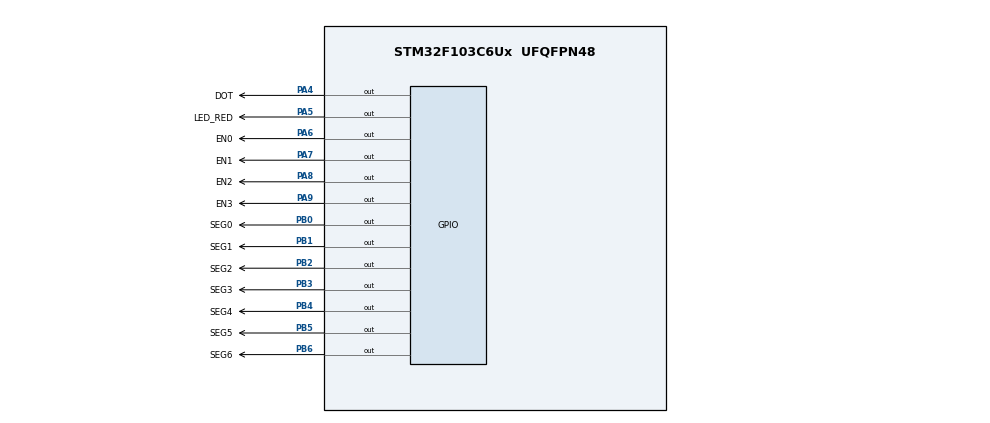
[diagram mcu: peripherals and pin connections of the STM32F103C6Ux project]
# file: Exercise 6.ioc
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Mcu.Family=STM32F1
Mcu.Name=STM32F103C6Ux
Mcu.Package=UFQFPN48
NVIC.PriorityGroup=NVIC_PRIORITYGROUP_4
NVIC.TIM2_IRQn=true\:0\:0\:false\:false\:true\:true\:true
PA4.GPIO_Label=DOT
PA4.Signal=GPIO_Output
PA5.GPIO_Label=LED_RED
PA5.Signal=GPIO_Output
PA6.GPIO_Label=EN0
PA6.Signal=GPIO_Output
PA7.GPIO_Label=EN1
PA7.Signal=GPIO_Output
PA8.GPIO_Label=EN2
PA8.Signal=GPIO_Output
PA9.GPIO_Label=EN3
PA9.Signal=GPIO_Output
PB0.GPIO_Label=SEG0
PB0.Signal=GPIO_Output
PB1.GPIO_Label=SEG1
PB1.Signal=GPIO_Output
PB2.GPIO_Label=SEG2
PB2.Signal=GPIO_Output
PB3.GPIO_Label=SEG3
PB3.Signal=GPIO_Output
PB4.GPIO_Label=SEG4
PB4.Signal=GPIO_Output
PB5.GPIO_Label=SEG5
PB5.Signal=GPIO_Output
PB6.GPIO_Label=SEG6
PB6.Signal=GPIO_Output
ProjectManager.HeapSize=0x200
ProjectManager.StackSize=0x400
ProjectManager.TargetToolchain=STM32CubeIDE
RCC.APB1Freq_Value=8000000
RCC.APB2Freq_Value=8000000
TIM2.Period=9
TIM2.Prescaler=7999
VP_SYS_VS_ND.Mode=No_Debug
VP_TIM2_VS_ClockSourceINT.Mode=Internal
board=custom

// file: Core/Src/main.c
/* USER CODE BEGIN Header */
/**
  ******************************************************************************
  * @file           : main.c
  * @brief          : Main program body
  ******************************************************************************
  * @attention
  *
  * <h2><center>&copy; Copyright (c) 2022 STMicroelectronics.
  * All rights reserved.</center></h2>
  *
  * This software component is licensed by ST under BSD 3-Clause license,
  * the "License"; You may not use this file except in compliance with the
  * License. You may obtain a copy of the License at:
  *                        opensource.org/licenses/BSD-3-Clause
  *
  ******************************************************************************
  */
/* USER CODE END Header */
#include "main.h"

TIM_HandleTypeDef htim2;

void SystemClock_Config(void);
static void MX_GPIO_Init(void);
static void MX_TIM2_Init(void);

/* USER CODE BEGIN 0 */

//software timer
int timer0_counter = 0;
int timer0_flag = 0;
int TIMER_CYCLE = 10;

void setTimer0(int duration){
	timer0_counter = duration / TIMER_CYCLE;
	timer0_flag = 0;
}

void timer_run(){
	if(timer0_counter > 0){
		timer0_counter--;
		if(timer0_counter == 0) timer0_flag = 1;
	}
}

//display7SEG function
void display7SEG(int num)
{
	if (num == 0)
	{
		HAL_GPIO_WritePin (GPIOB, SEG0_Pin|SEG1_Pin|SEG2_Pin|SEG3_Pin|SEG4_Pin|SEG5_Pin, GPIO_PIN_RESET);
		HAL_GPIO_WritePin (GPIOB, SEG6_Pin, GPIO_PIN_SET);
	}
	else if (num == 1)
	{
		HAL_GPIO_WritePin (GPIOB, SEG1_Pin|SEG2_Pin, GPIO_PIN_RESET);
		HAL_GPIO_WritePin (GPIOB, SEG0_Pin|SEG3_Pin|SEG4_Pin|SEG5_Pin|SEG6_Pin, GPIO_PIN_SET);
	}
	else if (num == 2)
	{
		HAL_GPIO_WritePin (GPIOB, SEG0_Pin|SEG1_Pin|SEG3_Pin|SEG4_Pin|SEG6_Pin, GPIO_PIN_RESET);
		HAL_GPIO_WritePin (GPIOB, SEG2_Pin|SEG5_Pin, GPIO_PIN_SET);
	}
	else if (num == 3)
	{
		HAL_GPIO_WritePin (GPIOB, SEG0_Pin|SEG1_Pin|SEG2_Pin|SEG3_Pin|SEG6_Pin, GPIO_PIN_RESET);
		HAL_GPIO_WritePin (GPIOB, SEG4_Pin|SEG5_Pin, GPIO_PIN_SET);
	}
	else if (num == 4)
	{
		HAL_GPIO_WritePin (GPIOB, SEG1_Pin|SEG2_Pin|SEG5_Pin|SEG6_Pin, GPIO_PIN_RESET);
		HAL_GPIO_WritePin (GPIOB, SEG0_Pin|SEG3_Pin|SEG4_Pin, GPIO_PIN_SET);
	}
	else if (num == 5)
	{
		HAL_GPIO_WritePin (GPIOB, SEG0_Pin|SEG2_Pin|SEG3_Pin|SEG5_Pin|SEG6_Pin, GPIO_PIN_RESET);
		HAL_GPIO_WritePin (GPIOB, SEG1_Pin|SEG4_Pin, GPIO_PIN_SET);
	}
	else if (num == 6)
	{
		HAL_GPIO_WritePin (GPIOB, SEG0_Pin|SEG2_Pin|SEG3_Pin|SEG4_Pin|SEG5_Pin|SEG6_Pin, GPIO_PIN_RESET);
		HAL_GPIO_WritePin (GPIOB, SEG1_Pin, GPIO_PIN_SET);
	}
	else if (num == 7)
	{
		HAL_GPIO_WritePin (GPIOB, SEG0_Pin|SEG1_Pin|SEG2_Pin, GPIO_PIN_RESET);
		HAL_GPIO_WritePin (GPIOB, SEG3_Pin|SEG4_Pin|SEG5_Pin|SEG6_Pin, GPIO_PIN_SET);
	}
	else if (num == 8)
	{
		HAL_GPIO_WritePin (GPIOB, SEG0_Pin|SEG1_Pin|SEG2_Pin|SEG3_Pin|SEG4_Pin|SEG5_Pin|SEG6_Pin, GPIO_PIN_RESET);
	}
	else
	{
		HAL_GPIO_WritePin (GPIOB, SEG0_Pin|SEG1_Pin|SEG2_Pin|SEG3_Pin|SEG5_Pin|SEG6_Pin, GPIO_PIN_RESET);
		HAL_GPIO_WritePin (GPIOB, SEG4_Pin, GPIO_PIN_SET);
	}
}

const int MAX_LED = 4;
int index_led = 0;
int led_buffer[4] = {1, 2, 3, 4};

void update7SEG(int index){
	switch (index){
	case 0:
		//Display the first 7SEG with led_buffer[0]
		display7SEG(led_buffer[index]);
		HAL_GPIO_WritePin(EN0_GPIO_Port, EN0_Pin, RESET);
		HAL_GPIO_WritePin(EN1_GPIO_Port, EN1_Pin, SET);
		HAL_GPIO_WritePin(EN1_GPIO_Port, EN2_Pin, SET);
		HAL_GPIO_WritePin(EN1_GPIO_Port, EN3_Pin, SET);
		index_led = 1;
		break;

	case 1:
		//Display the first 7SEG with led_buffer[1]
		display7SEG(led_buffer[index]);
		HAL_GPIO_WritePin(EN0_GPIO_Port, EN0_Pin, SET);
		HAL_GPIO_WritePin(EN1_GPIO_Port, EN1_Pin, RESET);
		HAL_GPIO_WritePin(EN1_GPIO_Port, EN2_Pin, SET);
		HAL_GPIO_WritePin(EN1_GPIO_Port, EN3_Pin, SET);
		index_led = 2;
		break;

	case 2:
		//Display the first 7SEG with led_buffer[2]
		display7SEG(led_buffer[index]);
		HAL_GPIO_WritePin(EN0_GPIO_Port, EN0_Pin, SET);
		HAL_GPIO_WritePin(EN1_GPIO_Port, EN1_Pin, SET);
		HAL_GPIO_WritePin(EN1_GPIO_Port, EN2_Pin, RESET);
		HAL_GPIO_WritePin(EN1_GPIO_Port, EN3_Pin, SET);
		index_led = 3;
		break;

	case 3:
		//Display the first 7SEG with led_buffer[3]
		display7SEG(led_buffer[index]);
		HAL_GPIO_WritePin(EN0_GPIO_Port, EN0_Pin, SET);
		HAL_GPIO_WritePin(EN1_GPIO_Port, EN1_Pin, SET);
		HAL_GPIO_WritePin(EN1_GPIO_Port, EN2_Pin, SET);
		HAL_GPIO_WritePin(EN1_GPIO_Port, EN3_Pin, RESET);
		index_led = 0;
		break;

	default:
		break;
	}
}

//updateClockBuffer function
int hour = 15, minute = 8, second = 50;
void updateClockBuffer(){

	led_buffer[1] = hour % 10;
	if (hour < 10){
		led_buffer[0] = 0;
	}
	else {
		led_buffer[0] = hour / 10;
	}

	led_buffer[3] = minute % 10;
	if (minute < 10){
		led_buffer[2] = 0;
	}
	else{
		led_buffer[2] = minute / 10;
	}
}

/* USER CODE END 0 */

int main(void)
{

  /* MCU Configuration--------------------------------------------------------*/

  /* Reset of all peripherals, Initializes the Flash interface and the Systick. */
  HAL_Init();

  /* Configure the system clock */
  SystemClock_Config();

  /* Initialize all configured peripherals */
  MX_GPIO_Init();
  MX_TIM2_Init();
  /* USER CODE BEGIN 2 */
  HAL_TIM_Base_Start_IT(&htim2);
  /* USER CODE END 2 */

  /* Infinite loop */
  /* USER CODE BEGIN WHILE */
  while (1)
  {
	  second++;

	  	  if (second >= 60) // 1 minute = 60s
	  	  {
	  		  second = 0;
	  		  minute++;

	  		  if (minute >= 60) // 1 hour = 60p
	  		  {
	  			  minute = 0;
	  			  hour++;
	  		  	  if (hour >= 12) {hour = 0;}//start new a cycle
	  		  }
	  	  }

	  updateClockBuffer();
	  HAL_Delay(1000);

	  if(timer0_flag == 1){
		  HAL_GPIO_TogglePin(GPIOA, LED_RED_Pin);
		  setTimer0(2000);
	  }
    /* USER CODE END WHILE */

  }
}

void SystemClock_Config(void)
{
  RCC_OscInitTypeDef RCC_OscInitStruct = {0};
  RCC_ClkInitTypeDef RCC_ClkInitStruct = {0};

  /** Initializes the RCC Oscillators according to the specified parameters
  * in the RCC_OscInitTypeDef structure.
  */
  RCC_OscInitStruct.OscillatorType = RCC_OSCILLATORTYPE_HSI;
  RCC_OscInitStruct.HSIState = RCC_HSI_ON;
  RCC_OscInitStruct.HSICalibrationValue = RCC_HSICALIBRATION_DEFAULT;
  RCC_OscInitStruct.PLL.PLLState = RCC_PLL_NONE;
  if (HAL_RCC_OscConfig(&RCC_OscInitStruct) != HAL_OK)
  {
    Error_Handler();
  }
  /** Initializes the CPU, AHB and APB buses clocks
  */
  RCC_ClkInitStruct.ClockType = RCC_CLOCKTYPE_HCLK|RCC_CLOCKTYPE_SYSCLK
                              |RCC_CLOCKTYPE_PCLK1|RCC_CLOCKTYPE_PCLK2;
  RCC_ClkInitStruct.SYSCLKSource = RCC_SYSCLKSOURCE_HSI;
  RCC_ClkInitStruct.AHBCLKDivider = RCC_SYSCLK_DIV1;
  RCC_ClkInitStruct.APB1CLKDivider = RCC_HCLK_DIV1;
  RCC_ClkInitStruct.APB2CLKDivider = RCC_HCLK_DIV1;

  if (HAL_RCC_ClockConfig(&RCC_ClkInitStruct, FLASH_LATENCY_0) != HAL_OK)
  {
    Error_Handler();
  }
}

static void MX_TIM2_Init(void)
{

  TIM_ClockConfigTypeDef sClockSourceConfig = {0};
  TIM_MasterConfigTypeDef sMasterConfig = {0};

  htim2.Instance = TIM2;
  htim2.Init.Prescaler = 7999;
  htim2.Init.CounterMode = TIM_COUNTERMODE_UP;
  htim2.Init.Period = 9;
  htim2.Init.ClockDivision = TIM_CLOCKDIVISION_DIV1;
  htim2.Init.AutoReloadPreload = TIM_AUTORELOAD_PRELOAD_DISABLE;
  if (HAL_TIM_Base_Init(&htim2) != HAL_OK)
  {
    Error_Handler();
  }
  sClockSourceConfig.ClockSource = TIM_CLOCKSOURCE_INTERNAL;
  if (HAL_TIM_ConfigClockSource(&htim2, &sClockSourceConfig) != HAL_OK)
  {
    Error_Handler();
  }
  sMasterConfig.MasterOutputTrigger = TIM_TRGO_RESET;
  sMasterConfig.MasterSlaveMode = TIM_MASTERSLAVEMODE_DISABLE;
  if (HAL_TIMEx_MasterConfigSynchronization(&htim2, &sMasterConfig) != HAL_OK)
  {
    Error_Handler();
  }

}

static void MX_GPIO_Init(void)
{
  GPIO_InitTypeDef GPIO_InitStruct = {0};

  /* GPIO Ports Clock Enable */
  __HAL_RCC_GPIOA_CLK_ENABLE();
  __HAL_RCC_GPIOB_CLK_ENABLE();

  /*Configure GPIO pin Output Level */
  HAL_GPIO_WritePin(GPIOA, DOT_Pin|LED_RED_Pin|EN0_Pin|EN1_Pin
                          |EN2_Pin|EN3_Pin, GPIO_PIN_RESET);

  /*Configure GPIO pin Output Level */
  HAL_GPIO_WritePin(GPIOB, SEG0_Pin|SEG1_Pin|SEG2_Pin|SEG3_Pin
                          |SEG4_Pin|SEG5_Pin|SEG6_Pin, GPIO_PIN_RESET);

  /*Configure GPIO pins : DOT_Pin LED_RED_Pin EN0_Pin EN1_Pin
                           EN2_Pin EN3_Pin */
  GPIO_InitStruct.Pin = DOT_Pin|LED_RED_Pin|EN0_Pin|EN1_Pin
                          |EN2_Pin|EN3_Pin;
  GPIO_InitStruct.Mode = GPIO_MODE_OUTPUT_PP;
  GPIO_InitStruct.Pull = GPIO_NOPULL;
  GPIO_InitStruct.Speed = GPIO_SPEED_FREQ_LOW;
  HAL_GPIO_Init(GPIOA, &GPIO_InitStruct);

  /*Configure GPIO pins : SEG0_Pin SEG1_Pin SEG2_Pin SEG3_Pin
                           SEG4_Pin SEG5_Pin SEG6_Pin */
  GPIO_InitStruct.Pin = SEG0_Pin|SEG1_Pin|SEG2_Pin|SEG3_Pin
                          |SEG4_Pin|SEG5_Pin|SEG6_Pin;
  GPIO_InitStruct.Mode = GPIO_MODE_OUTPUT_PP;
  GPIO_InitStruct.Pull = GPIO_NOPULL;
  GPIO_InitStruct.Speed = GPIO_SPEED_FREQ_LOW;
  HAL_GPIO_Init(GPIOB, &GPIO_InitStruct);

}

/* USER CODE BEGIN 4 */

int counterFor2LedRed = 100; //The switching time between 2 LED RED is a second

int counter = 50; //The switching time between 4 LEDS is a half of second
void HAL_TIM_PeriodElapsedCallback(TIM_HandleTypeDef *htim){

	timer_run();

	if (counterFor2LedRed > 0){
			counterFor2LedRed --;
			if(counterFor2LedRed <= 0){
				counterFor2LedRed = 100;

				HAL_GPIO_TogglePin(DOT_GPIO_Port, DOT_Pin);
			}
		}

	if (counter > 0){
		counter--;
		if(counter <= 0)
		{
			counter = 50;
			update7SEG(index_led);
		}
	}
}

/* USER CODE END 4 */

void Error_Handler(void)
{
  __disable_irq();
  while (1)
  {
  }
}

/************************ (C) COPYRIGHT STMicroelectronics *****END OF FILE****/
